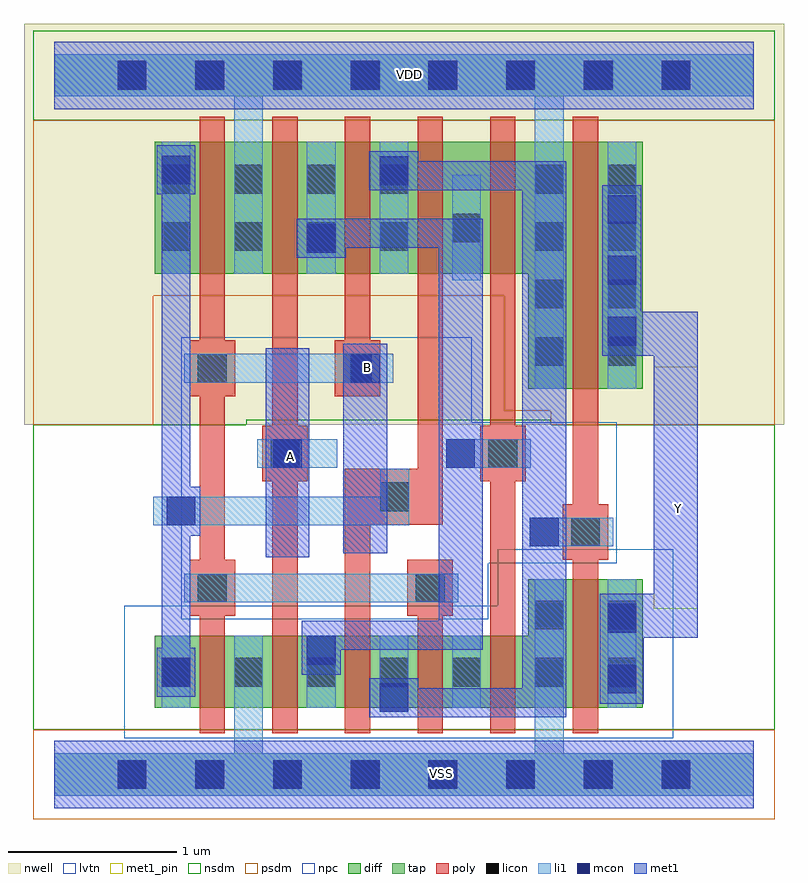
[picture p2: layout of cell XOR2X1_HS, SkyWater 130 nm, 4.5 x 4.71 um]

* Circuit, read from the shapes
.subckt XOR2X1_HS A B VDD VSS Y
XM1 VSS B n1 VSS sky130_fd_pr__nfet_01v8_lvt w=0.425 l=0.15
XM2 n2 A VSS VSS sky130_fd_pr__nfet_01v8_lvt w=0.425 l=0.15
XM3 n3 n1 n2 VSS sky130_fd_pr__nfet_01v8_lvt w=0.425 l=0.15
XM4 n4 B n3 VSS sky130_fd_pr__nfet_01v8_lvt w=0.425 l=0.15
XM5 VSS n2 n4 VSS sky130_fd_pr__nfet_01v8_lvt w=0.425 l=0.15
XM6 Y n3 VSS VSS sky130_fd_pr__nfet_01v8_lvt w=0.76 l=0.15
XM7 VDD B n1 VDD sky130_fd_pr__pfet_01v8 w=0.78 l=0.15
XM8 n2 A VDD VDD sky130_fd_pr__pfet_01v8 w=0.78 l=0.15
XM9 n3 B n2 VDD sky130_fd_pr__pfet_01v8 w=0.78 l=0.15
XM10 n5 n1 n3 VDD sky130_fd_pr__pfet_01v8 w=0.78 l=0.15
XM11 VDD n2 n5 VDD sky130_fd_pr__pfet_01v8 w=0.78 l=0.15
XM12 Y n3 VDD VDD sky130_fd_pr__pfet_01v8 w=1.46 l=0.15
.ends

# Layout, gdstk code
from math import pi, radians
import gdstk
lib = gdstk.Library(unit=1e-6, precision=1e-09)
def R(c, l, rs):  # rectangles x0, y0, x1, y1
    for r in rs: c.add(gdstk.rectangle(r[:2], r[2:], *l))
def A(c, l, x, y, w, h, nx, ny, dx, dy):  # array of equal rectangles
    R(c, l, [(x+i*dx, y+j*dy, x+i*dx+w, y+j*dy+h) for i in range(nx) for j in range(ny)])
def P(c, l, *ps):  # polygons
    for p in ps: c.add(gdstk.Polygon(p, *l))
nwell = (64, 20)
diff = (65, 20)
tap = (65, 44)
poly = (66, 20)
licon = (66, 44)
li1 = (67, 20)
mcon = (67, 44)
met1_pin = (68, 16)
met1 = (68, 20)
nsdm = (93, 44)
psdm = (94, 20)
npc = (95, 20)
lvtn = (125, 44)

l1m1_c_cdns_758729172866 = lib.new_cell('L1M1_C_CDNS_758729172866')
R(l1m1_c_cdns_758729172866, li1, [(-0.085,-0.085,0.085,0.085)])
R(l1m1_c_cdns_758729172866, mcon, [(-0.085,-0.085,0.085,0.085)])
R(l1m1_c_cdns_758729172866, met1, [(-0.115,-0.145,0.115,0.145)])

l1m1_c_cdns_758729172861 = lib.new_cell('L1M1_C_CDNS_7587291728612')
R(l1m1_c_cdns_758729172861, li1, [(-0.085,-0.165,0.085,0.085)])
R(l1m1_c_cdns_758729172861, mcon, [(-0.085,-0.085,0.085,0.085)])
R(l1m1_c_cdns_758729172861, met1, [(-0.115,-0.145,0.115,0.145)])

l1m1_c_cdns_758729172864 = lib.new_cell('L1M1_C_CDNS_758729172864')
R(l1m1_c_cdns_758729172864, li1, [(-0.085,-0.345,0.085,0.345)])
R(l1m1_c_cdns_758729172864, mcon, [(-0.085,-0.265,0.085,-0.095), (-0.085,0.095,0.085,0.265)])
R(l1m1_c_cdns_758729172864, met1, [(-0.115,-0.325,0.115,0.325)])

c_l1m1_c_cdns_758729172861 = lib.new_cell('L1M1_C_CDNS_758729172861')
R(c_l1m1_c_cdns_758729172861, li1, [(-0.085,-0.165,0.085,0.165)])
R(c_l1m1_c_cdns_758729172861, mcon, [(-0.085,-0.085,0.085,0.085)])
R(c_l1m1_c_cdns_758729172861, met1, [(-0.115,-0.145,0.115,0.145)])

pyl1con_c_cdns_758729172 = lib.new_cell('PYL1CON_C_CDNS_758729172862')
R(pyl1con_c_cdns_758729172, poly, [(-0.135,-0.165,0.135,0.165)])
R(pyl1con_c_cdns_758729172, licon, [(-0.085,-0.085,0.085,0.085)])
R(pyl1con_c_cdns_758729172, npc, [(-0.185,-0.185,0.185,0.185)])

l1m1_c_cdns_758729172860 = lib.new_cell('L1M1_C_CDNS_758729172860')
R(l1m1_c_cdns_758729172860, li1, [(-0.165,-0.085,0.165,0.085)])
R(l1m1_c_cdns_758729172860, mcon, [(-0.085,-0.085,0.085,0.085)])
R(l1m1_c_cdns_758729172860, met1, [(-0.115,-0.145,0.115,0.145)])

c_l1m1_c_cdns_758729172861_ = lib.new_cell('L1M1_C_CDNS_7587291728610')
R(c_l1m1_c_cdns_758729172861_, li1, [(-0.085,-0.085,0.085,0.085)])
R(c_l1m1_c_cdns_758729172861_, mcon, [(-0.085,-0.085,0.085,0.085)])
R(c_l1m1_c_cdns_758729172861_, met1, [(-0.145,-0.115,0.145,0.115)])

licondiff_c_cdns_7587291 = lib.new_cell('LICONDIFF_C_CDNS_7587291728611')
R(licondiff_c_cdns_7587291, diff, [(-0.125,-0.145,0.125,0.145)])
R(licondiff_c_cdns_7587291, licon, [(-0.085,-0.085,0.085,0.085), (-0.085,-0.085,0.085,0.085)])

c_l1m1_c_cdns_758729172861__ = lib.new_cell('L1M1_C_CDNS_7587291728613')
R(c_l1m1_c_cdns_758729172861__, li1, [(-0.085,-0.525,0.085,0.525)])
A(c_l1m1_c_cdns_758729172861__, mcon, -0.085, -0.445, 0.17, 0.17, 1, 3, 0, 0.36)
R(c_l1m1_c_cdns_758729172861__, met1, [(-0.115,-0.505,0.115,0.505)])

c_l1m1_c_cdns_758729172861___ = lib.new_cell('L1M1_C_CDNS_7587291728614')
R(c_l1m1_c_cdns_758729172861___, li1, [(-0.085,-0.165,0.085,0.085)])
R(c_l1m1_c_cdns_758729172861___, mcon, [(-0.085,-0.085,0.085,0.085)])
R(c_l1m1_c_cdns_758729172861___, met1, [(-0.115,-0.13,0.115,0.13)])

xor2x1_hs = lib.new_cell('XOR2X1_HS')
R(xor2x1_hs, nwell, [(-0.18,2.07,4.32,4.445)])
P(xor2x1_hs, diff, [(3.485,3.745),(0.595,3.745),(0.595,2.965),(2.805,2.965),(2.805,2.285),(3.485,2.285)],
  [(3.485,1.155),(2.805,1.155),(2.805,0.82),(0.595,0.82),(0.595,0.395),(3.485,0.395)])
R(xor2x1_hs, poly, [(0.86,0.245,1.01,3.895), (1.29,0.245,1.44,3.895), (2.15,0.245,2.3,1.145), (2.58,0.245,2.73,3.895), (3.07,0.245,3.22,3.895), (1.72,2.405,1.87,3.895)])
P(xor2x1_hs, poly, [(2.3,3.895),(2.15,3.895),(2.15,1.81),(1.72,1.81),(1.72,0.245),(1.87,0.245),(1.87,1.48),(2.3,1.48)])
A(xor2x1_hs, licon, 0.375, -0.085, 0.17, 0.17, 8, 2, 0.46, 4.14)
A(xor2x1_hs, licon, 0.635, 0.52, 0.17, 0.17, 4, 2, 0.43, 2.58)
A(xor2x1_hs, licon, 2.845, 2.42, 0.17, 0.17, 1, 4, 0, 0.34)
A(xor2x1_hs, licon, 3.275, 2.42, 0.17, 0.17, 1, 4, 0, 0.34)
A(xor2x1_hs, licon, 0.635, 3.44, 0.17, 0.17, 4, 1, 0.43, 0)
R(xor2x1_hs, licon, [(2.845,0.52,3.015,0.69), (3.275,0.52,3.445,0.69), (2.845,0.86,3.015,1.03), (3.275,0.86,3.445,1.03)])
R(xor2x1_hs, li1, [(0.635,0.395,0.805,0.82), (1.495,0.395,1.665,0.82), (1.925,0.395,2.095,0.82), (3.275,0.395,3.445,1.155), (3.275,2.285,3.445,3.745), (0.635,2.965,0.805,3.745), (1.495,2.965,1.665,3.745), (1.925,2.965,2.095,3.745)])
P(xor2x1_hs, li1, [(2.1,1.81),(1.93,1.81),(1.93,1.645),(0.71,1.645),(0.71,1.475),(2.1,1.475)],
  [(4.14,4.265),(0,4.265),(0,4.015),(1.065,4.015),(1.065,2.965),(1.235,2.965),(1.235,4.015),(2.845,4.015),(2.845,2.285),(3.015,2.285),(3.015,4.015),(4.14,4.015)],
  [(4.14,0.125),(3.015,0.125),(3.015,1.155),(2.845,1.155),(2.845,0.125),(1.235,0.125),(1.235,0.82),(1.065,0.82),(1.065,0.125),(0,0.125),(0,-0.125),(4.14,-0.125)])
A(xor2x1_hs, mcon, 0.375, -0.085, 0.17, 0.17, 8, 2, 0.46, 4.14)
R(xor2x1_hs, met1_pin, [(3.55,0.98,3.81,2.415), (1.25,1.285,1.51,2.525), (1.71,1.31,1.97,2.55)])
P(xor2x1_hs, met1, [(2.535,3.29),(1.435,3.29),(1.435,3.12),(2.275,3.12),(2.275,0.91),(1.465,0.91),(1.465,0.74),(2.535,0.74)],
  [(3.03,3.63),(1.865,3.63),(1.865,3.46),(2.77,3.46),(2.77,0.51),(1.865,0.51),(1.865,0.34),(3.03,0.34)])
R(xor2x1_hs, nsdm, [(-0.125,3.875,4.265,4.405)])
P(xor2x1_hs, nsdm, [(4.265,2.07),(2.94,2.07),(2.94,2.1),(1.135,2.1),(1.135,2.07),(-0.125,2.07),(-0.125,0.265),(4.265,0.265)])
R(xor2x1_hs, psdm, [(-0.125,-0.265,4.265,0.265)])
P(xor2x1_hs, psdm, [(4.265,3.875),(-0.125,3.875),(-0.125,2.07),(0.585,2.07),(0.585,2.835),(2.665,2.835),(2.665,2.155),(2.94,2.155),(2.94,2.07),(4.265,2.07)])
P(xor2x1_hs, npc, [(3.33,2.085),(2.47,2.085),(2.47,2.59),(0.75,2.59),(0.75,0.92),(2.57,0.92),(2.57,1.25),(3.33,1.25)])
P(xor2x1_hs, lvtn, [(3.665,1.335),(2.625,1.335),(2.625,1),(0.415,1),(0.415,0.215),(3.665,0.215)])
xor2x1_hs.add(gdstk.FlexPath([(2.895,1.435),(3.31,1.435)], 0.17, ends="flush", simple_path=True, layer=67, datatype=20))  # li1
xor2x1_hs.add(gdstk.FlexPath([(1.675,1.9),(1.2,1.9)], 0.17, ends="flush", simple_path=True, layer=67, datatype=20))  # li1
xor2x1_hs.add(gdstk.FlexPath([(0.77,2.405),(1.96,2.405)], 0.17, ends="flush", simple_path=True, layer=67, datatype=20))  # li1
xor2x1_hs.add(gdstk.FlexPath([(0.77,1.105),(2.39,1.105)], 0.17, ends="flush", simple_path=True, layer=67, datatype=20))  # li1
xor2x1_hs.add(gdstk.FlexPath([(2.405,1.9),(2.82,1.9)], 0.17, ends="flush", simple_path=True, layer=67, datatype=20))  # li1
xor2x1_hs.add(gdstk.FlexPath([(2.44,2.925),(2.44,3.55)], 0.17, ends="flush", simple_path=True, layer=67, datatype=20))  # li1
xor2x1_hs.add(gdstk.FlexPath([(2.44,0.395),(2.44,0.82)], 0.17, ends="flush", simple_path=True, layer=67, datatype=20))  # li1
xor2x1_hs.add(gdstk.FlexPath([(0,0),(4.14,0)], 0.4, ends="flush", simple_path=True, layer=68, datatype=16))  # met1_pin
xor2x1_hs.add(gdstk.FlexPath([(0,4.14),(4.14,4.14)], 0.4, ends="flush", simple_path=True, layer=68, datatype=16))  # met1_pin
xor2x1_hs.add(gdstk.FlexPath([(0,4.14),(4.14,4.14)], 0.25, ends="flush", simple_path=True, layer=65, datatype=44))  # tap
xor2x1_hs.add(gdstk.FlexPath([(0,0),(4.14,0)], 0.25, ends="flush", simple_path=True, layer=65, datatype=44))  # tap
xor2x1_hs.add(gdstk.FlexPath([(0,4.14),(4.14,4.14)], 0.4, ends="flush", simple_path=True, layer=68, datatype=20))  # met1
xor2x1_hs.add(gdstk.FlexPath([(0,0),(4.14,0)], 0.4, ends="flush", simple_path=True, layer=68, datatype=20))  # met1
xor2x1_hs.add(gdstk.FlexPath([(0.72,0.655),(0.72,3.725)], 0.17, ends="flush", simple_path=True, layer=68, datatype=20))  # met1
xor2x1_hs.add(gdstk.FlexPath([(1.38,1.285),(1.38,2.525)], 0.26, ends="flush", simple_path=True, layer=68, datatype=20))  # met1
xor2x1_hs.add(gdstk.FlexPath([(1.84,1.31),(1.84,2.55)], 0.26, ends="flush", simple_path=True, layer=68, datatype=20))  # met1
xor2x1_hs.add(gdstk.FlexPath([(3.36,2.61),(3.68,2.61),(3.68,0.94),(3.36,0.94),(3.36,0.745)], 0.26, ends=(0, 0.325), simple_path=True, layer=68, datatype=20))  # met1
xor2x1_hs.add(gdstk.Reference(l1m1_c_cdns_758729172866, (1.58,0.735), rotation=pi))
xor2x1_hs.add(gdstk.Reference(l1m1_c_cdns_758729172861, (0.72,3.58)))
xor2x1_hs.add(gdstk.Reference(l1m1_c_cdns_758729172864, (3.36,0.745)))
xor2x1_hs.add(gdstk.Reference(c_l1m1_c_cdns_758729172861, (0.72,0.605)))
xor2x1_hs.add(gdstk.Reference(pyl1con_c_cdns_758729172, (3.145,1.435), rotation=pi))
xor2x1_hs.add(gdstk.Reference(pyl1con_c_cdns_758729172, (2.655,1.9), rotation=pi))
xor2x1_hs.add(gdstk.Reference(pyl1con_c_cdns_758729172, (1.365,1.9), rotation=pi))
xor2x1_hs.add(gdstk.Reference(pyl1con_c_cdns_758729172, (1.795,2.405), rotation=pi))
xor2x1_hs.add(gdstk.Reference(pyl1con_c_cdns_758729172, (0.935,2.405), rotation=pi))
xor2x1_hs.add(gdstk.Reference(pyl1con_c_cdns_758729172, (2.015,1.645), rotation=pi))
xor2x1_hs.add(gdstk.Reference(pyl1con_c_cdns_758729172, (2.225,1.105), rotation=pi))
xor2x1_hs.add(gdstk.Reference(pyl1con_c_cdns_758729172, (0.935,1.105), rotation=pi))
xor2x1_hs.add(gdstk.Reference(l1m1_c_cdns_758729172860, (1.84,2.405), x_reflection=True))
xor2x1_hs.add(gdstk.Reference(l1m1_c_cdns_758729172860, (1.38,1.9), x_reflection=True))
xor2x1_hs.add(gdstk.Reference(l1m1_c_cdns_758729172860, (0.75,1.56), rotation=pi, x_reflection=True))
xor2x1_hs.add(gdstk.Reference(c_l1m1_c_cdns_758729172861_, (2.01,3.575), rotation=pi))
xor2x1_hs.add(gdstk.Reference(c_l1m1_c_cdns_758729172861_, (2.01,0.455), rotation=pi))
xor2x1_hs.add(gdstk.Reference(c_l1m1_c_cdns_758729172861_, (1.58,3.175), rotation=pi))
xor2x1_hs.add(gdstk.Reference(licondiff_c_cdns_7587291, (2.44,0.605)))
xor2x1_hs.add(gdstk.Reference(licondiff_c_cdns_7587291, (2.44,3.235)))
xor2x1_hs.add(gdstk.Reference(c_l1m1_c_cdns_758729172861__, (3.36,2.985)))
xor2x1_hs.add(gdstk.Reference(c_l1m1_c_cdns_758729172861___, (2.405,1.9), rotation=pi/2))
xor2x1_hs.add(gdstk.Reference(c_l1m1_c_cdns_758729172861___, (2.9,1.435), rotation=pi/2))
xor2x1_hs.add(gdstk.Label('VDD', (2.1,4.145), layer=68, texttype=5))
xor2x1_hs.add(gdstk.Label('B', (1.855,2.41), layer=68, texttype=5))
xor2x1_hs.add(gdstk.Label('Y', (3.695,1.575), layer=68, texttype=5))
xor2x1_hs.add(gdstk.Label('A', (1.395,1.88), layer=68, texttype=5))
xor2x1_hs.add(gdstk.Label('VSS', (2.29,0.005), layer=68, texttype=5))

lib.write_gds('XOR2X1_HS.gds')
